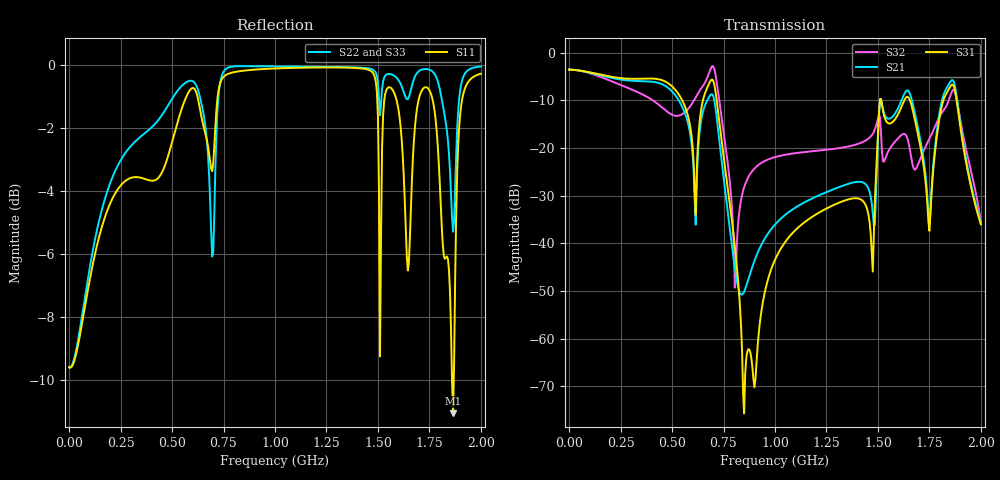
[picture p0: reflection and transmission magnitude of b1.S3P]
!Generated from: C:\Users\nkfzm\OneDrive - University of Missouri\Desktop\Research\PowerSI\Board 1 - GPGG\test1.spd
! Port1_ic_port::PWR
! Port2_decap_port1_1::PWR
! Port3_decap_port2_1::PWR
!Layout Workbench Version: 24.1.0.10141.541387  000
!Computer Host Name: RS29JQCX3
!TouchstoneFormatFlag = 1
! GNDNET GRD
! NETSLIST
#	Hz	Z	RI	R	1
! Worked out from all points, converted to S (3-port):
!   625 points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, 100 mHz to 2 GHz, reference 1 ohm
!   strongest paths, dB at 100 mHz, 164 MHz, 476 MHz, 1.22 GHz, 2 GHz:
!     S31: -3.5, -4.7, -6.3, -33.4, -36.0
!     S21: -3.5, -4.9, -7.2, -29.8, -35.6
!     S32: -3.5, -5.3, -12.3, -20.5, -35.5
!   lowest |S11| = -11.1 dB at 1.865 GHz (marker M1), VSWR 1.78, Z = 0.753 + j0.442 ohm
!   |S11| at or under -10 dB: 1.859754 GHz to 1.868249 GHz (8.495 MHz wide, 0.456 % of centre)
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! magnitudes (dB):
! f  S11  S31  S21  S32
! 100 mHz  -9.6  -3.5  -3.5  -3.5
! 695 MHz  -3.4  -5.6  -8.7  -2.8
! 805 MHz  -0.2  -40.6  -45.2  -49.3
! 855 MHz  -0.2  -67.5  -49.6  -27.6
! 1.005 GHz  -0.1  -43.0  -35.8  -21.8
! 1.465 GHz  -0.2  -38.1  -30.2  -17.6
! 1.64 GHz  -6.0  -9.3  -7.9  -17.6
! 1.75 GHz  -0.8  -37.4  -36.1  -18.0
! 1.865 GHz  -11.1  -6.7  -5.8  -7.8
! 2 GHz  -0.3  -36.0  -35.6  -35.5
